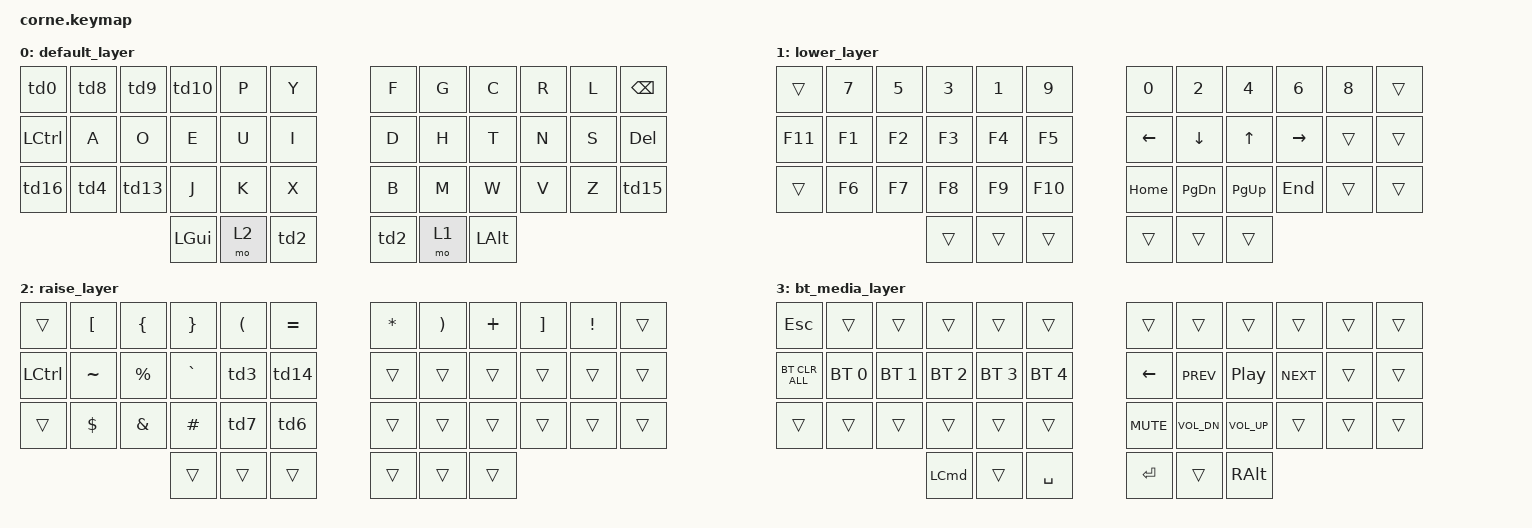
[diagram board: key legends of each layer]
/*
 * Copyright (c) 2020 The ZMK Contributors
 *
 * SPDX-License-Identifier: MIT
 */

#include <behaviors.dtsi>
#include <dt-bindings/zmk/keys.h>
#include <dt-bindings/zmk/bt.h>

#define BASE 0
#define NAV 1
#define SYM 2
#define BT 3

// TAP_DANCE settings
#define TAP_SPEED 200

// MACROS to make the the code easier to read
// include name or reference in keymap
// Format: 
//      name        reference  key1 key2 
#define TD_TAB      &td0    // TAB ESC
#define TD_CAPLOCK  &td1    // LSHIFT CAPSLOCK 
#define TD_SPC      &td2    // SPACE ENTER 
#define TD_SLSH     &td3    // SLASH QMARK
#define TD_QUOTE    &td4    // QUOTE DOUBLE_QUOTES
#define TD_EQL      &td5    // EQUAL PLUS
#define TD_BSLS     &td6    // BACKSLASH PIPE 
#define TD_MINUS    &td7    // MINUS UNDERSCORE
#define TD_SCLN     &td8    // SEMICOLON COLON 
#define TD_COMM     &td9    // COMMA LESS_THAN 
#define TD_DOT      &td10   // PERIOD GREATER_THAN 
#define TD_BACKF    &td11   // GRAVE TILDE
#define TD_ALT      &td12   // LALT GUI
#define TD_ARR      &td13   // Q AT (@)
#define TD_ATCAT    &td14   // AT CARET 
#define TD_TAW      &td15   // TAB LWIN
#define TD_SCLOCK   &td16   // (S)LSHIFT CAPSLOCK (Sticky shift)

// include &name in keymap to use
// FORMAT
//   natural --> (on shift)
//   number --> symbols | number code --> symbol code 
// one_lpar    1 --> (  | N1 --> LPAR
// two_par     2 --> )  | N2 --> RPAR
// three_rbrc  3 --> }  | N3 --> RBRC
// four_pl     4 --> ]  | N4 --> PLUS
// five_lbrc   5 --> {  | N5 --> RSFT
// six_rbkt    6 --> ]  | N6 --> RBKT
// seven_lbkt  7 --> [  | N7 --> LBKT
// eight_exlm  8 --> !  | N8 --> EXCL
// nine_equal  9 --> =  | N9 --> EQUAL
// zero_s      0 --> *  | N0 --> STAR

/*
// Sticky key config if desired
&sk {
    //release-after-ms = <2000>;
    quick-release;
};

*/

/ {


    behaviors{  
        td0: tap_dance_0 {
            compatible = "zmk,behavior-tap-dance";
            label = "TAP_DANCE_0"; 
            #binding-cells = <0>; 
            tapping-term-ms = <TAP_SPEED>; 
            bindings = <&kp TAB>, <&kp ESC>;

            }; 
        td1: tap_dance_1 {
            compatible = "zmk,behavior-tap-dance";
            label = "TAP_DANCE_1"; 
            #binding-cells = <0>; 
            tapping-term-ms = <TAP_SPEED>; 
            bindings = <&kp LSHIFT>, <&kp CAPSLOCK>;
            }; 
        td2: tap_dance_2 {
            compatible = "zmk,behavior-tap-dance";
            label = "TAP_DANCE_2"; 
            #binding-cells = <0>; 
            tapping-term-ms = <TAP_SPEED>; 
            bindings = <&kp SPACE>, <&kp ENTER>;
            }; 
        td3: tap_dance_3 {
            compatible = "zmk,behavior-tap-dance";
            label = "TAP_DANCE_3"; 
            #binding-cells = <0>; 
            tapping-term-ms = <TAP_SPEED>; 
            bindings = <&kp SLASH>, <&kp QMARK>;
            }; 
        td4: tap_dance_4 {
            compatible = "zmk,behavior-tap-dance";
            label = "TAP_DANCE_4"; 
            #binding-cells = <0>; 
            tapping-term-ms = <TAP_SPEED>; 
            bindings = <&kp SINGLE_QUOTE>, <&kp DOUBLE_QUOTES>;
            }; 
        td5: tap_dance_5 {
            compatible = "zmk,behavior-tap-dance";
            label = "TAP_DANCE_5"; 
            #binding-cells = <0>; 
            tapping-term-ms = <TAP_SPEED>; 
            bindings = <&kp EQUAL>, <&kp PLUS>;
            }; 
        td6: tap_dance_6 {
            compatible = "zmk,behavior-tap-dance";
            label = "TAP_DANCE_6"; 
            #binding-cells = <0>; 
            tapping-term-ms = <TAP_SPEED>; 
            bindings = <&kp BACKSLASH>, <&kp PIPE>;
            }; 
        td7: tap_dance_7 {
            compatible = "zmk,behavior-tap-dance";
            label = "TAP_DANCE_7"; 
            #binding-cells = <0>; 
            tapping-term-ms = <TAP_SPEED>; 
            bindings = <&kp MINUS>, <&kp UNDERSCORE>;
            }; 
        td8: tap_dance_8 {
            compatible = "zmk,behavior-tap-dance";
            label = "TAP_DANCE_8"; 
            #binding-cells = <0>; 
            tapping-term-ms = <TAP_SPEED>; 
            bindings = <&kp SEMICOLON>, <&kp COLON>;
            }; 
        td9: tap_dance_9 {
            compatible = "zmk,behavior-tap-dance";
            label = "TAP_DANCE_9"; 
            #binding-cells = <0>; 
            tapping-term-ms = <TAP_SPEED>; 
            bindings = <&kp COMMA>, <&kp LESS_THAN>;
            }; 
        td10: tap_dance_10 {
            compatible = "zmk,behavior-tap-dance";
            label = "TAP_DANCE_10"; 
            #binding-cells = <0>; 
            tapping-term-ms = <TAP_SPEED>; 
            bindings = <&kp PERIOD>, <&kp GREATER_THAN>;
            }; 
        td11: tap_dance_11 {
            compatible = "zmk,behavior-tap-dance";
            label = "TAP_DANCE_11"; 
            #binding-cells = <0>; 
            tapping-term-ms = <TAP_SPEED>; 
            bindings = <&kp GRAVE>, <&kp TILDE>;
            };            

        td12: tap_dance_12 {
            compatible = "zmk,behavior-tap-dance";
            label = "TAP_DANCE_12"; 
            #binding-cells = <0>; 
            tapping-term-ms = <TAP_SPEED>; 
            bindings = <&kp LALT>, <&kp LCMD>;
            };
        td13: tap_dance_13 {
            compatible = "zmk,behavior-tap-dance";
            label = "TAP_DANCE_13"; 
            #binding-cells = <0>; 
            tapping-term-ms = <TAP_SPEED>; 
            bindings = <&kp Q>, <&kp AT>;
            };
        td14: tap_dance_14 {
            compatible = "zmk,behavior-tap-dance";
            label = "TAP_DANCE_14"; 
            #binding-cells = <0>; 
            tapping-term-ms = <TAP_SPEED>; 
            bindings = <&kp AT>, <&kp CARET>;
            };
        td15: tap_dance_15 {
            compatible = "zmk,behavior-tap-dance";
            label = "TAP_DANCE_15"; 
            #binding-cells = <0>; 
            tapping-term-ms = <TAP_SPEED>; 
            bindings = <&kp TAB>, <&kp LWIN>;
            };
        td16: tap_dance_16 {
            compatible = "zmk,behavior-tap-dance";
            label = "TAP_DANCE_16"; 
            #binding-cells = <0>; 
            tapping-term-ms = <TAP_SPEED>; 
            bindings = <&sk LSHIFT>, <&kp CAPSLOCK>;
            }; 

        // create the shifts of dvorak 
        seven_lbkt: seven_lbkt{ 
                compatible = "zmk,behavior-mod-morph";
                label="SEVEN_LBKT";
                #binding-cells = <0>;
                bindings = <&kp N7>, <&kp LBKT>;  
                mods=<(MOD_LSFT|MOD_RSFT)>;
            }; 
        five_lbrc: five_lbrc {
                compatible = "zmk,behavior-mod-morph";
                label="FIVE_LBRC";
                #binding-cells = <0>; 
                bindings = <&kp N5>,<&kp LBRC>;
                mods=<(MOD_LSFT|MOD_RSFT)>;
        };
        three_rbrc: three_rbrc {
                compatible = "zmk,behavior-mod-morph";
                label="THREE_RBRC";
                #binding-cells = <0>; 
                bindings = <&kp N3>,<&kp RBRC>;
                mods=<(MOD_LSFT|MOD_RSFT)>;
        };
        one_lpar: one_lpar {
                compatible = "zmk,behavior-mod-morph";
                label="ONE_LPAR";
                #binding-cells = <0>; 
                bindings = <&kp N1>,<&kp LPAR>;
                mods=<(MOD_LSFT|MOD_RSFT)>;
        };
        nine_equal: nine_equal {
                compatible = "zmk,behavior-mod-morph";
                label="nine_equal";
                #binding-cells = <0>; 
                bindings = <&kp N9>,    <&kp EQUAL>;
                mods=<(MOD_LSFT|MOD_RSFT)>;
        };
        zero_s: zero_star { 
                compatible = "zmk,behavior-mod-morph";
                label="ZERO_STAR";
                #binding-cells = <0>;
                bindings = <&kp N0>, <&kp STAR>;  
                mods=<(MOD_LSFT|MOD_RSFT)>;
            }; 
        two_par: two_paren {
                compatible = "zmk,behavior-mod-morph";
                label="TWO_PAR";
                #binding-cells = <0>; 
                bindings = <&kp N2>,<&kp RPAR>;
                mods=<(MOD_LSFT|MOD_RSFT)>;
        };
        four_pl: four_plus {
                compatible = "zmk,behavior-mod-morph";
                label="FOUR_PLUS";
                #binding-cells = <0>; 
                bindings = <&kp N4>,<&kp PLUS>;
                mods=<(MOD_LSFT|MOD_RSFT)>;
        };
        six_rbkt: six_rbkt {
                compatible = "zmk,behavior-mod-morph";
                label="six_rbkt";
                #binding-cells = <0>; 
                bindings = <&kp N6>,<&kp RBKT>;
                mods=<(MOD_LSFT|MOD_RSFT)>;
        };
        eight_exlm: eight_exlm {
                compatible = "zmk,behavior-mod-morph";
                label="EIGHT_EXLM";
                #binding-cells = <0>; 
                bindings = <&kp N8>,    <&kp EXCL>;
                mods=<(MOD_LSFT|MOD_RSFT)>;
        };
    };

    // LAYERS
    conditional_layers {
        compatible = "zmk,conditional-layers";
        tri_layer {
            if-layers = <1 2>;
            then-layer = <3>;
        };
    };
        keymap {
                compatible = "zmk,keymap";

                default_layer {
// -----------------------------------------------------------------------------------------
// |TAB:ESC   | ; : | , < | . > |  P  |  Y  |         | F   |  G   |  C  |  R  |  L  | BKSP |
// | CTRL     |  A  |  O  |  E  |  U  |  I  |         |  D  |  H   |  T  |  N  |  S  |  DEL |
// | LSFT:CAP |' "  | q @ | J   | K   |  X  |         |  B  |  M   |  W  |  V  |  Z  | TAB  |
//                        | GUI | LWR | SPC |         | ENT | RSE  | ALT |
                        bindings = <
   TD_TAB     TD_SCLN  TD_COMM TD_DOT &kp P &kp Y                   &kp F &kp G  &kp C     &kp R   &kp L    &kp BSPC
   &kp LCTRL  &kp A    &kp O   &kp E  &kp U &kp I                   &kp D &kp H  &kp T     &kp N   &kp S    &kp DEL
  TD_SCLOCK TD_QUOTE TD_ARR  &kp J  &kp K &kp X                   &kp B &kp M  &kp W     &kp V   &kp Z    TD_TAW
                             &kp LGUI &mo 2 TD_SPC                   TD_SPC &mo 1 &kp LALT
                        >;
                };
                lower_layer {
// -----------------------------------------------------------------------------------------
// |  ESC   |  7   |  5  |  3  |  1  |  9  |            |  0  |  2  |  4  |  6  |  8  |      |
// | F11    |  F1  |  F2 |  F3 |  F4 |  F5 |            | LFT | DWN |  UP | RGT |     |      |
// | SHFT   |  F6  |  F7 |  F8 |  F9 |  F10|            |HOME | PGDN| PGUP| END |     |      |
//                       |     |     |     |            |     |     |     |
                        bindings = <
   &trans     &kp N7        &kp N5      &kp N3      &kp N1      &kp N9               &kp N0     &kp N2      &kp N4      &kp N6      &kp N8      &trans
   // &trans     &seven_lbkt   &five_lbrc  &three_rbrc &one_lpar   &nine_equal          &zero_s    &two_par    &four_pl    &six_rbkt   &eight_exlm &trans
   &kp F11    &kp F1        &kp F2      &kp F3      &kp F4      &kp F5               &kp LEFT   &kp DOWN    &kp UP      &kp RIGHT   &trans      &trans
   &trans     &kp F6        &kp F7      &kp F8      &kp F9      &kp F10              &kp HOME   &kp PG_DN   &kp PG_UP   &kp END     &trans      &trans
                          	            &trans      &trans      &trans               &trans     &trans      &trans
                        >;
                };

                raise_layer {
// -----------------------------------------------------------------------------------------
// |  ESC |  [  |  {  |  }  |  (  |  =  |       |  *  |  )  |  +  |  ]  |  !  | DEL  |
// | CTRL |  ~  |  %  |  `  | / ? | @ ^ |       |     |     |     |     |     |      |
// | SHFT |  $  |  &  |  #  | - _ | \ | |       |     |     |     |     |     |      |
//                    | GUI |     | SPC |       | ENT |     | ALT |
                        bindings = <
   &trans     &kp LBKT    &kp LBRC     &kp RBRC     &kp LPAR    &kp EQUAL       &kp STAR    &kp RPAR  &kp PLUS  &kp RBKT  &kp EXCL   &trans    
   &kp LCTRL  &kp TILDE   &kp PRCNT    &kp GRAVE    TD_SLSH     TD_ATCAT        &trans      &trans    &trans    &trans    &trans     &trans
   &trans     &kp DLLR    &kp AMPS     &kp HASH     TD_MINUS    TD_BSLS         &trans      &trans    &trans    &trans    &trans     &trans
                    	               &trans       &trans      &trans          &trans      &trans    &trans
                        >;
                };


// bt_media_layer: BT functions and media controls
                bt_media_layer {
// -----------------------------------------------------------------------------------------
// |  ESC |     |     |     |     |     |   |         |     |         |     |   |      |
// | BTCLR| BT1 | BT2 | BT3 | BT4 | BT5 |   | LFT     | PRV |  Play/P | NXT |   |      |
// | SHFT |     |     |     |     |     |   | MUTE    | VOL-| VOL+|   |     |   |      |
//                    | GUI |     | SPC |   | ENT     |     | ALT |
                        bindings = <
   &kp ESC    &trans       &trans       &trans       &trans       &trans                &trans          &trans         &trans       &trans     &trans &trans
   &bt BT_CLR_ALL &bt BT_SEL 0 &bt BT_SEL 1 &bt BT_SEL 2 &bt BT_SEL 3 &bt BT_SEL 4          &kp LEFT        &kp C_PREV     &kp C_PP     &kp C_NEXT &trans &trans
   &trans  &trans       &trans       &trans       &trans       &trans                &kp C_MUTE      &kp C_VOL_DN   &kp C_VOL_UP &trans     &trans &trans
                          	            &kp LCMD     &trans       &kp SPACE             &kp RET         &trans          &kp RALT
                        >;
                }; 

 
        };
};
